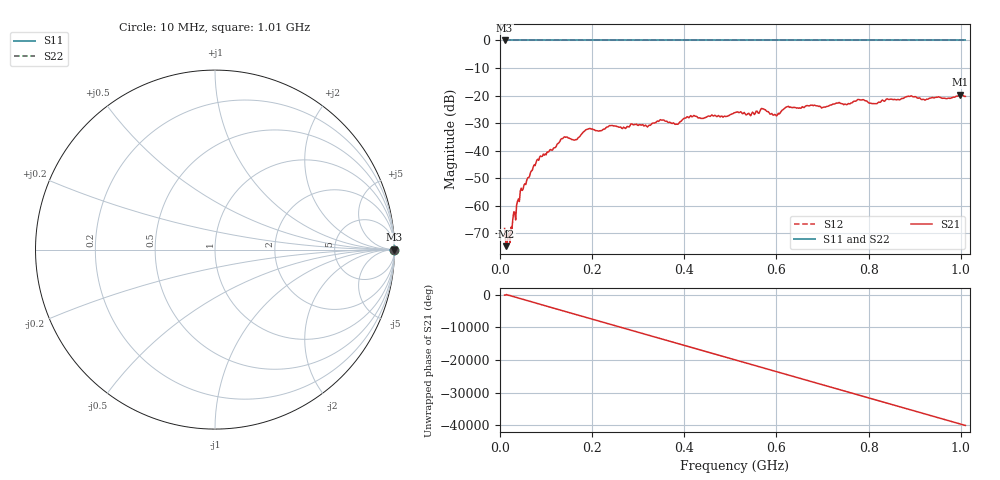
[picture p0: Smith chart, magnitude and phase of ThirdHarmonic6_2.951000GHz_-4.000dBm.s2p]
! 8/17/2025 8:17:51 AM
! C:\ANRITSUVNA\TEMP\TEMP.S2P
! CHANNEL.1
! TR.MEASUREMENT
! RAW.DATA
! RF.CORRECTION.OFF
! AVERAGING.OFF
! IF.BANDWIDTH: 5KHZ
! SWEEPTYPE:  FREQ.SWEEP(Linear)
! Reference Plane Port Info
! PORT:  PORT1  PORT2
! DISTANCE:  0  m  0  m
! TIME:  0  s  0  s
! PHASE.OFFSET:  0  deg.  0  deg.
! LOSS:  0  dB  0  dB
! REF.LOSS:  0  dB  0  dB
! REF.FREQ:  0  Hz  0  Hz
! Power Info
! POWER:  -20  dBm  -20  dBm
! EFF.POWER:  -20  dBm  -20  dBm
! SOURCE.ATTEN:  0  dB  0  dB
! TEST.ATTEN:  0  dB  0  dB
# GHZ S RI R 50.0
! FREQ.GHZ  S11RE  S11IM  S21RE  S21IM  S12RE  S12IM  S22RE  S22IM
!; PortSelection: Port_12
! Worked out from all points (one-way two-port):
!   501 points, 10 MHz to 1.01 GHz, reference 50 ohm
!   highest |S21| = -19.67 dB at 998 MHz (marker M1); lowest = -74.7 dB at 14 MHz (marker M2)
!   lowest |S11| = 0.0 dB at 10 MHz (marker M3)
!   |S11| at or under -10 dB: nowhere
!   |S22| runs from 0.0 to 0.0 dB; largest |S21 - S12| = 1.1
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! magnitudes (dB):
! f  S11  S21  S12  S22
! 10 MHz  0.0  -68.3  0.0  0.0
! 14 MHz  0.0  -74.7  0.0  0.0
! 18 MHz  0.0  -71.2  0.0  0.0
! 48 MHz  0.0  -54.5  0.0  0.0
! 84 MHz  0.0  -43.6  0.0  0.0
! 136 MHz  0.0  -35.6  0.0  0.0
! 164 MHz  0.0  -36.0  0.0  0.0
! 178 MHz  0.0  -33.9  0.0  0.0
! 192 MHz  0.0  -32.1  0.0  0.0
! 322 MHz  0.0  -31.1  0.0  0.0
! 344 MHz  0.0  -29.4  0.0  0.0
! 384 MHz  0.0  -30.4  0.0  0.0
! 416 MHz  0.0  -27.7  0.0  0.0
! 510 MHz  0.0  -26.2  0.0  0.0
! 540 MHz  0.0  -26.5  0.0  0.0
! 570 MHz  0.0  -24.8  0.0  0.0
! 598 MHz  0.0  -27.0  0.0  0.0
! 622 MHz  0.0  -24.1  0.0  0.0
! 678 MHz  0.0  -23.5  0.0  0.0
! 844 MHz  0.0  -21.5  0.0  0.0
! 998 MHz  0.0  -19.7  0.0  0.0
! 1.01 GHz  0.0  -20.3  0.0  0.0
